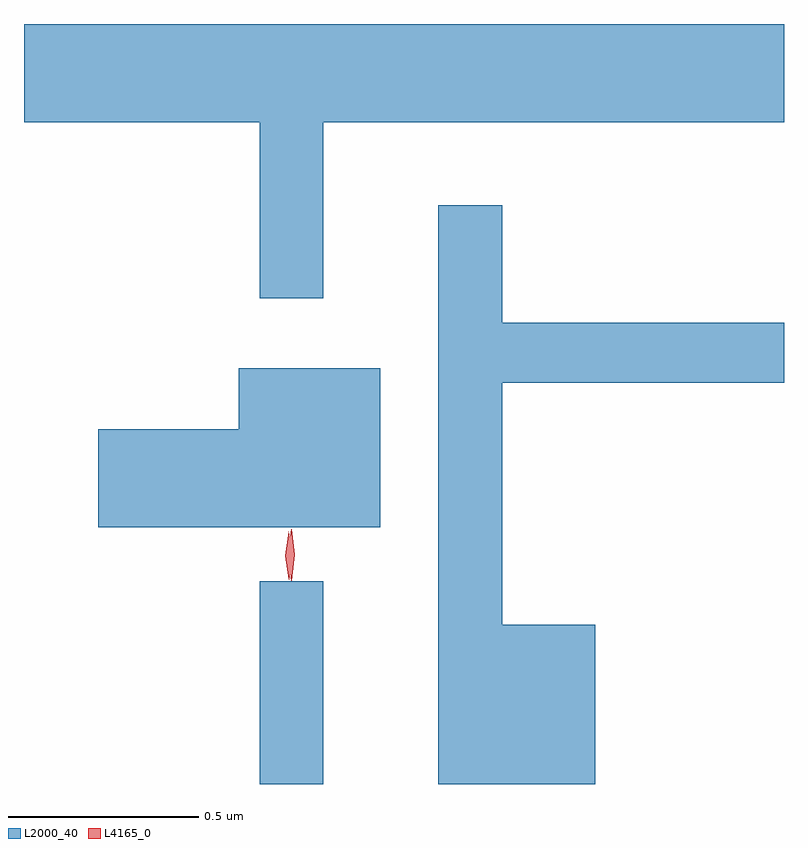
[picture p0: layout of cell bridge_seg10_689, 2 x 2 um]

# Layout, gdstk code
import gdstk
lib = gdstk.Library(unit=1e-6, precision=1e-09)
def R(c, l, rs):  # rectangles x0, y0, x1, y1
    for r in rs: c.add(gdstk.rectangle(r[:2], r[2:], *l))
def P(c, l, *ps):  # polygons
    for p in ps: c.add(gdstk.Polygon(p, *l))
L2000_40 = (2000, 40)
L4165_0 = (4165, 0)

bridge_seg10_689 = lib.new_cell('bridge_seg10_689')
R(bridge_seg10_689, L2000_40, [(912.801,2123.275,912.969,2123.808)])
P(bridge_seg10_689, L2000_40, [(912.969,2125.016),(914.181,2125.016),(914.181,2125.275),(912.181,2125.275),(912.181,2125.016),(912.801,2125.016),(912.801,2124.553),(912.969,2124.553)],
  [(913.684,2123.694),(913.439,2123.694),(913.439,2124.331),(914.181,2124.331),(914.181,2124.489),(913.439,2124.489),(913.439,2124.798),(913.271,2124.798),(913.271,2123.275),(913.684,2123.275)],
  [(913.119,2124.369),(912.746,2124.369),(912.746,2124.209),(912.376,2124.209),(912.376,2123.951),(913.119,2123.951)])
P(bridge_seg10_689, L4165_0, [(912.879,2123.813),(912.878,2123.814),(912.868,2123.876),(912.878,2123.939),(912.878,2123.94),(912.878,2123.939),(912.888,2123.876),(912.879,2123.814)],
  [(912.884,2123.81),(912.875,2123.878),(912.884,2123.946),(912.884,2123.946),(912.885,2123.946),(912.894,2123.878),(912.885,2123.81),(912.885,2123.81)])

lib.write_gds('bridge_seg10_689.gds')
